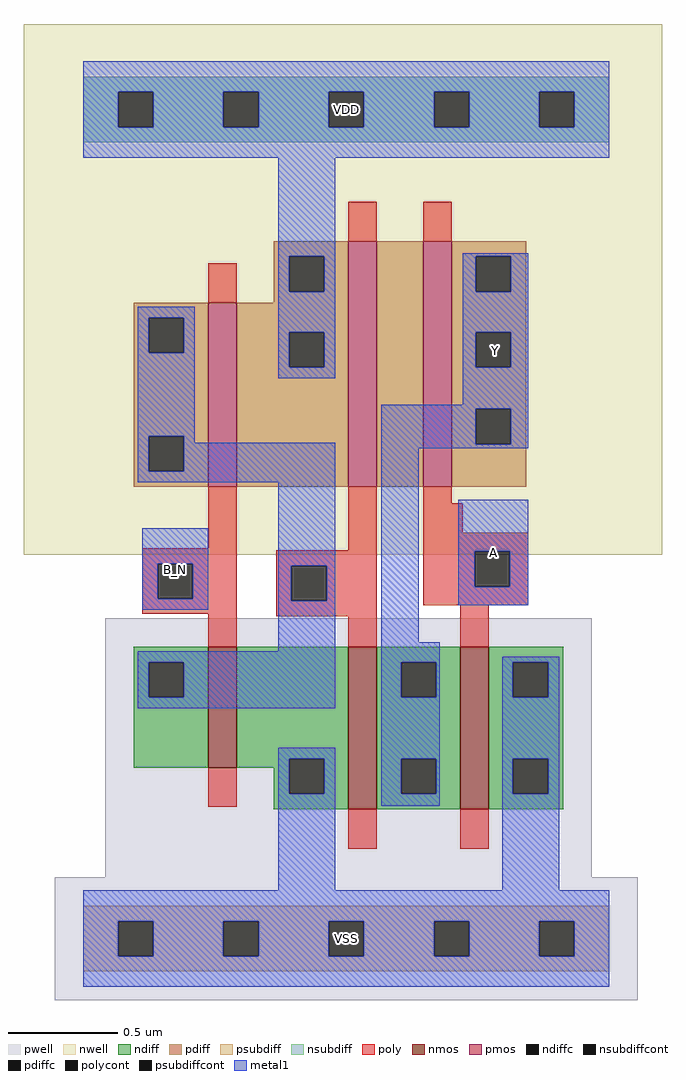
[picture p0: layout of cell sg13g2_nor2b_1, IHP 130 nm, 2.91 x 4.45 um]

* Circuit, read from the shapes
.subckt sg13g2_nor2b_1 A B_N VDD Y VSS
XM1 VSS B_N n1 VSS sg13_lv_nmos w=0.55u l=0.13u
XM2 Y n1 VSS VSS sg13_lv_nmos w=0.74u l=0.13u
XM3 VSS A Y VSS sg13_lv_nmos w=0.74u l=0.13u
XM4 VDD B_N n1 VDD sg13_lv_pmos w=0.84u l=0.13u
XM5 n2 n1 VDD VDD sg13_lv_pmos w=1.12u l=0.13u
XM6 Y A n2 VDD sg13_lv_pmos w=1.12u l=0.13u
.ends

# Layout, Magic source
magic
tech ihp-sg13g2
magscale 1 2
<< nwell >>
rect -54 350 528 834
<< pwell >>
rect 20 56 464 292
rect -26 -56 506 56
<< nmos >>
rect 114 156 140 266
rect 242 118 268 266
rect 344 118 370 266
<< pmos >>
rect 114 412 140 580
rect 242 412 268 636
rect 310 412 336 636
<< ndiff >>
rect 46 252 114 266
rect 46 220 60 252
rect 92 220 114 252
rect 46 156 114 220
rect 140 164 242 266
rect 140 156 188 164
rect 174 132 188 156
rect 220 132 242 164
rect 174 118 242 132
rect 268 252 344 266
rect 268 220 290 252
rect 322 220 344 252
rect 268 164 344 220
rect 268 132 290 164
rect 322 132 344 164
rect 268 118 344 132
rect 370 252 438 266
rect 370 220 392 252
rect 424 220 438 252
rect 370 164 438 220
rect 370 132 392 164
rect 424 132 438 164
rect 370 118 438 132
<< pdiff >>
rect 174 622 242 636
rect 174 590 188 622
rect 220 590 242 622
rect 174 580 242 590
rect 46 566 114 580
rect 46 534 60 566
rect 92 534 114 566
rect 46 458 114 534
rect 46 426 60 458
rect 92 426 114 458
rect 46 412 114 426
rect 140 553 242 580
rect 140 521 188 553
rect 220 521 242 553
rect 140 412 242 521
rect 268 412 310 636
rect 336 622 404 636
rect 336 590 358 622
rect 390 590 404 622
rect 336 553 404 590
rect 336 521 358 553
rect 390 521 404 553
rect 336 483 404 521
rect 336 451 358 483
rect 390 451 404 483
rect 336 412 404 451
<< ndiffc >>
rect 60 220 92 252
rect 188 132 220 164
rect 290 220 322 252
rect 290 132 322 164
rect 392 220 424 252
rect 392 132 424 164
<< pdiffc >>
rect 188 590 220 622
rect 60 534 92 566
rect 60 426 92 458
rect 188 521 220 553
rect 358 590 390 622
rect 358 521 390 553
rect 358 451 390 483
<< psubdiff >>
rect 0 16 480 30
rect 0 -16 32 16
rect 64 -16 128 16
rect 160 -16 224 16
rect 256 -16 320 16
rect 352 -16 416 16
rect 448 -16 480 16
rect 0 -30 480 -16
<< nsubdiff >>
rect 0 772 480 786
rect 0 740 32 772
rect 64 740 128 772
rect 160 740 224 772
rect 256 740 320 772
rect 352 740 416 772
rect 448 740 480 772
rect 0 726 480 740
<< psubdiffcont >>
rect 32 -16 64 16
rect 128 -16 160 16
rect 224 -16 256 16
rect 320 -16 352 16
rect 416 -16 448 16
<< nsubdiffcont >>
rect 32 740 64 772
rect 128 740 160 772
rect 224 740 256 772
rect 320 740 352 772
rect 416 740 448 772
<< poly >>
rect 242 636 268 672
rect 310 636 336 672
rect 114 580 140 616
rect 114 356 140 412
rect 54 342 140 356
rect 242 354 268 412
rect 54 310 68 342
rect 100 310 140 342
rect 54 296 140 310
rect 114 266 140 296
rect 176 340 268 354
rect 176 308 190 340
rect 222 308 268 340
rect 176 294 268 308
rect 310 397 336 412
rect 310 370 346 397
rect 310 353 406 370
rect 310 321 357 353
rect 389 321 406 353
rect 310 304 406 321
rect 242 266 268 294
rect 344 266 370 304
rect 114 120 140 156
rect 242 82 268 118
rect 344 82 370 118
<< polycont >>
rect 68 310 100 342
rect 190 308 222 340
rect 357 321 389 353
<< metal1 >>
rect 0 772 480 800
rect 0 740 32 772
rect 64 740 128 772
rect 160 740 224 772
rect 256 740 320 772
rect 352 740 416 772
rect 448 740 480 772
rect 0 712 480 740
rect 178 622 230 712
rect 178 590 188 622
rect 220 590 230 622
rect 50 566 102 576
rect 50 534 60 566
rect 92 534 102 566
rect 50 458 102 534
rect 178 553 230 590
rect 178 521 188 553
rect 220 521 230 553
rect 178 511 230 521
rect 346 622 406 625
rect 346 590 358 622
rect 390 590 406 622
rect 346 553 406 590
rect 346 521 358 553
rect 390 521 406 553
rect 346 487 406 521
rect 50 426 60 458
rect 92 452 102 458
rect 272 483 406 487
rect 92 426 230 452
rect 50 416 230 426
rect 54 342 114 374
rect 54 310 68 342
rect 100 310 114 342
rect 54 300 114 310
rect 178 340 230 416
rect 178 308 190 340
rect 222 308 230 340
rect 178 262 230 308
rect 50 252 230 262
rect 50 220 60 252
rect 92 220 230 252
rect 50 210 230 220
rect 272 451 358 483
rect 390 451 406 483
rect 272 447 406 451
rect 272 270 306 447
rect 342 353 406 400
rect 342 321 357 353
rect 389 321 406 353
rect 342 304 406 321
rect 272 252 325 270
rect 272 220 290 252
rect 322 220 325 252
rect 178 164 230 174
rect 178 132 188 164
rect 220 132 230 164
rect 178 44 230 132
rect 272 164 325 220
rect 272 132 290 164
rect 322 132 325 164
rect 272 121 325 132
rect 382 252 434 257
rect 382 220 392 252
rect 424 220 434 252
rect 382 164 434 220
rect 382 132 392 164
rect 424 132 434 164
rect 382 44 434 132
rect 0 16 480 44
rect 0 -16 32 16
rect 64 -16 128 16
rect 160 -16 224 16
rect 256 -16 320 16
rect 352 -16 416 16
rect 448 -16 480 16
rect 0 -44 480 -16
<< labels >>
flabel metal1 s 342 304 406 400 0 FreeSans 400 0 0 0 A
port 2 nsew
flabel metal1 s 54 300 114 374 0 FreeSans 400 0 0 0 B_N
port 3 nsew
flabel metal1 s 0 712 480 800 0 FreeSans 400 0 0 0 VDD
port 4 nsew
flabel metal1 s 346 447 406 625 0 FreeSans 400 0 0 0 Y
port 5 nsew
flabel metal1 s 0 -44 480 44 0 FreeSans 400 0 0 0 VSS
port 6 nsew
<< properties >>
string FIXED_BBOX 0 0 480 756
string GDS_END 107408
string GDS_FILE ../gds/controller.gds
string GDS_START 103640
<< end >>
